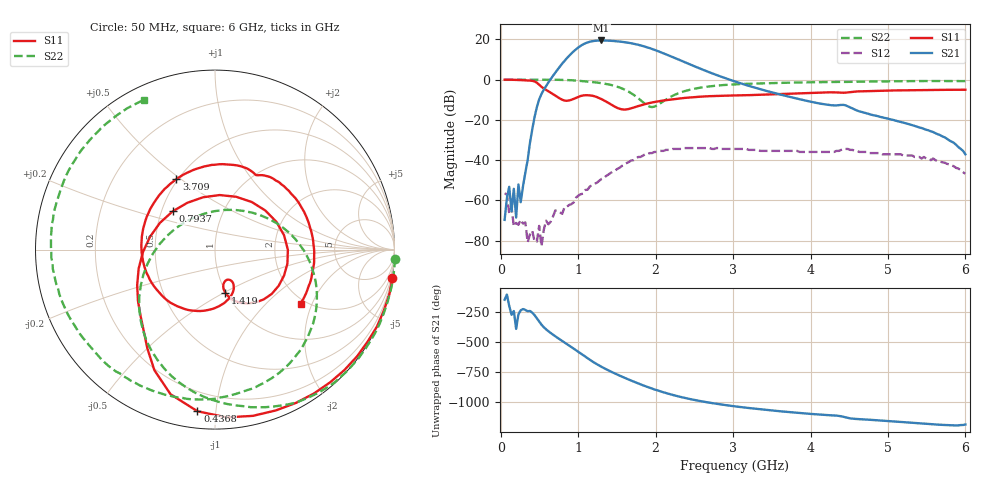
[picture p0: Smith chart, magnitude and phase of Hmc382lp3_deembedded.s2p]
!Hittite Microwave Corporation
!20 Alpha Rd
!Chelmsford, MA 01824
!Tel: 978-250-3343
!Fax: 978-250-3373
!Device: HMC382LP3, 1700 - 2200MHz GaAs PHEMT LNA in 3x3mm SMT QFN package
!Misc: Data taken on a part mounted on evaluation PCB 112580-1, Bias: +5VDC,Rbias=16 Ohms
# MHZ S MA R 50
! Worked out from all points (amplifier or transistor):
!   201 points, 50 MHz to 6 GHz, reference 50 ohm
!   highest |S21| = 19.5 dB at 1.3 GHz (marker M1)
!   |S21| within 3 dB of that: 1.019 GHz to 1.855 GHz (835.7 MHz wide, 58.1 % of centre)
!   unconditionally stable (mu >= 1): 694.8 MHz to end of sweep
!   at 1.032 GHz: K = 5.92, MAG = 26.2 dB, |S12| = -57.0 dB
!   at 3.025 GHz: K = 9.77, MAG = 3.9 dB, |S12| = -34.4 dB
!   at 6 GHz: K = 775.99, MAG = -27.1 dB, |S12| = -46.8 dB
!   S11 on the Smith chart (normalised r, x): 50 MHz: -0, -13; 436.8 MHz: 0.09, -0.89; 793.8 MHz: 0.57, +0.27; 1.419 GHz: 0.99, -0.51; 3.709 GHz: 0.49, +0.48; 6 GHz: 1.87, -1.65
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50  1.001 -9.1  0.0003282 -149.0  0.001502 76.9  1.004 -2.8
258.25  0.979 -49.0  0.0009007 123.7  0.0003302 -22.7  1.004 -15.0
436.75  0.906 -96.2  0.118 83.1  9.533e-05 -134.6  1.006 -25.8
645  0.476 -155.6  1.038 -65.3  0.0002949 163.8  1.001 -39.4
793.75  0.318 138.0  2.509 -131.1  0.0004631 85.8  0.992 -50.2
942.5  0.335 52.4  5.094 164.7  0.0008938 27.7  0.964 -62.1
1061.5  0.406 -0.1  7.519 111.5  0.001475 -19.3  0.922 -72.2
1121  0.411 -20.6  8.439 84.9  0.00184 -35.6  0.9 -77.3
1180.5  0.401 -38.1  9.049 59.8  0.00238 -55.3  0.875 -82.6
1299.5  0.33 -64.2  9.457 14.9  0.003399 -85.9  0.821 -94.6
1418.5  0.246 -76.7  9.291 -24.1  0.004816 -103.7  0.745 -109.0
1537.5  0.189 -74.1  8.864 -59.5  0.006533 -126.0  0.638 -126.5
1656.5  0.188 -64.0  8.226 -92.5  0.009057 -145.2  0.498 -147.9
1835  0.239 -64.1  6.877 -138.7  0.013 -178.6  0.277 163.7
2043.25  0.292 -76.9  5.021 174.2  0.017 144.3  0.246 64.2
2221.75  0.327 -90.6  3.648 140.7  0.019 116.9  0.4 17.5
2489.5  0.369 -114.6  2.204 100.7  0.02 82.2  0.59 -17.9
3025  0.406 -170.9  0.905 46.0  0.019 32.7  0.768 -60.4
3709.25  0.448 118.7  0.383 -0.7  0.017 -9.2  0.846 -100.5
4036.5  0.473 89.8  0.275 -18.3  0.016 -26.4  0.865 -119.0
5018.25  0.539 23.2  0.105 -76.6  0.014 -84.1  0.913 -177.1
6000  0.564 -32.3  0.014 -104.8  0.004586 -173.9  0.924 115.2
